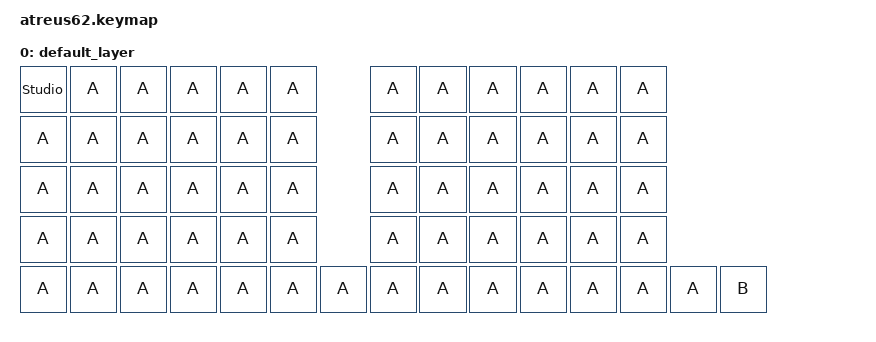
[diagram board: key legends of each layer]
#include <behaviors.dtsi>
#include <dt-bindings/zmk/keys.h>
 
/ {
    keymap {
        compatible = "zmk,keymap";

        default_layer {
            bindings = <
                &studio_unlock &kp A &kp A &kp A &kp A &kp A        &kp A &kp A &kp A &kp A &kp A &kp A
                &kp A          &kp A &kp A &kp A &kp A &kp A        &kp A &kp A &kp A &kp A &kp A &kp A
                &kp A          &kp A &kp A &kp A &kp A &kp A        &kp A &kp A &kp A &kp A &kp A &kp A
                &kp A          &kp A &kp A &kp A &kp A &kp A        &kp A &kp A &kp A &kp A &kp A &kp A
                &kp A          &kp A &kp A &kp A &kp A &kp A &kp A  &kp A &kp A &kp A &kp A &kp A &kp A &kp A &kp B
            >;
        };
		
        extra1 {
            status = "reserved";
        };

        extra2 {
            status = "reserved";
        };
		
		        // Define extra layers as reserved
        extra3 {
            status = "reserved";
        };

        extra4 {
            status = "reserved";
        };
    };
};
